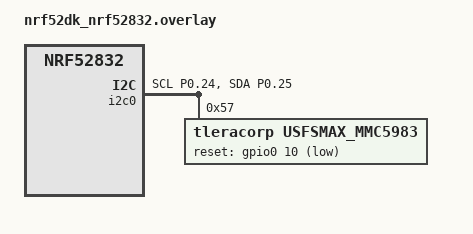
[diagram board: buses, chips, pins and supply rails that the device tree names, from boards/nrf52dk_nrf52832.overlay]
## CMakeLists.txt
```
#
# Copyright (c) 2016 Intel Corporation
#
# SPDX-License-Identifier: Apache-2.0
#

cmake_minimum_required(VERSION 3.20.0)
find_package(Zephyr REQUIRED HINTS $ENV{ZEPHYR_BASE})
project(nrf_connect_sdk_fundamentals)


add_subdirectory(src)

# The app source must be in this cmake file even though it breaks our general cmake usage pattern since zephyr stuff behind the scenes requires it.
target_sources(app PRIVATE src/main.c)
```

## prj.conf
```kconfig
# Logger module
CONFIG_LOG=y
CONFIG_LOG_MODE_DEFERRED=n
CONFIG_LOG_DEFAULT_LEVEL=3
CONFIG_LOG_TIMESTAMP_64BIT=y
CONFIG_LOG_BUFFER_SIZE=4096
# override the logging level for specific modules:
CONFIG_MPU_LOG_LEVEL_WRN=y
CONFIG_KERNEL_LOG_LEVEL_WRN=y
CONFIG_BT_HCI_CORE_LOG_LEVEL_WRN=y
CONFIG_BT_CTLR_ISOAL_LOG_LEVEL_WRN=y

# # Better asserts
# CONFIG_ASSERT=y
# CONFIG_ASSERT_VERBOSE=y

# # Stack debugging
# CONFIG_INIT_STACKS=y
# CONFIG_THREAD_STACK_INFO=y
# CONFIG_THREAD_NAME=y

# Bluetooth LE
CONFIG_BT=y
CONFIG_BT_PERIPHERAL=y
CONFIG_BT_DEVICE_NAME="Silas ROM"

# Peripherals for IMU
CONFIG_I2C=y

# Increase stack size for the main thread and System Workqueue
CONFIG_SYSTEM_WORKQUEUE_STACK_SIZE=2048
CONFIG_MAIN_STACK_SIZE=2048
CONFIG_BT_RX_STACK_SIZE=2048
```

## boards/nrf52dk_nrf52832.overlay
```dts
&i2c0 {
    status = "okay";
    pinctrl-0 = <&i2c0_default>;
    pinctrl-1 = <&i2c0_sleep>;
    pinctrl-names = "default", "sleep";

    usfsmax_mmc5983: usfsmax_mmc5983@57 {
        compatible = "tleracorp,usfsmax_mmc5983";
        status = "okay";
        reg = <0x57>;
        reset-gpios = <&gpio0 10 GPIO_ACTIVE_LOW>;
    };
};


&pinctrl {
    /omit-if-no-ref/ i2c0_default: i2c0_default {
        group1 {
            psels = <NRF_PSEL(TWIM_SCL, 0, 24)>,
                    <NRF_PSEL(TWIM_SDA, 0, 25)>;
        };
    };
    /omit-if-no-ref/ i2c0_sleep: i2c0_sleep {
        group1 {
            psels = <NRF_PSEL(TWIM_SCL, 0, 24)>,
                    <NRF_PSEL(TWIM_SDA, 0, 25)>;
            low-power-enable;
        };
    };
};
```

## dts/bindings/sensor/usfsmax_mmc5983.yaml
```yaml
# SPDX-License-Identifier: Apache-2.0
---
compatible: "tleracorp,usfsmax_mmc5983"

description: >
  9 Dof IMU sensor, turn-key solution via coprocessor

include: [base.yaml, i2c-device.yaml]

properties:
  reset-gpios:
    type: phandle-array
    required: true
    description: Reset line for the sensor. Active-low.
```

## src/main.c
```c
#include <zephyr/kernel.h>
#include <zephyr/device.h>
#include <zephyr/logging/log.h>
#include <zephyr/devicetree.h>
#include <zephyr/drivers/i2c.h>
#include <zephyr/drivers/gpio.h>

#include "ble_controller.h"

#define USFSMAX_MMC5983_NODE DT_NODELABEL(usfsmax_mmc5983)

#define SLEEP_TIME_MS 1000
#define RESET_INTERVAL_MS 10000  // reset every 10 seconds
#define RESET_PULSE_MS 10        // hold reset low for 10 ms

LOG_MODULE_REGISTER(main);

const uint8_t kUSFSMAXMMCFirmwareID = 0x7F;

uint8_t last_read_fw_id = 0;
bool is_last_read_fw_id_valid = false;

bool ble_fw_version_read_cb(uint8_t* value)
{
	if(is_last_read_fw_id_valid)
	{
		*value = last_read_fw_id;
		return true;
	}

	return false;
}

int main(void)
{
	LOG_INF("initialization starting");

	static const struct i2c_dt_spec dev_i2c = I2C_DT_SPEC_GET(USFSMAX_MMC5983_NODE);
	static const struct gpio_dt_spec reset_gpio = GPIO_DT_SPEC_GET(USFSMAX_MMC5983_NODE, reset_gpios);

	if (!device_is_ready(dev_i2c.bus)) {
		LOG_ERR("I2C bus %s is not ready", dev_i2c.bus->name);
		return -1;
	}

	if (!device_is_ready(reset_gpio.port)) {
		LOG_ERR("Reset GPIO device not ready");
		return -1;
	}

	int ret = gpio_pin_configure_dt(&reset_gpio, GPIO_OUTPUT_INACTIVE);
	if (ret < 0) {
		LOG_ERR("Failed to configure reset GPIO (err %d)", ret);
		return -1;
	}

	uint8_t fw_id = 0;
	int64_t last_reset_time = k_uptime_get();

	ble_controller_t ble_controller;
	ble_controller.fw_version_read_cb = ble_fw_version_read_cb;
	ble_controller_singleton_init(&ble_controller);

	LOG_INF("initialization complete");
	LOG_INF("entering main loop");

	while (1) {
		LOG_DBG("main loop heartbeat");

		/* Check if it's time to reset */
		int64_t now = k_uptime_get();
		if (now - last_reset_time >= RESET_INTERVAL_MS) {
			LOG_INF("preparing to reset device");

			gpio_pin_set_dt(&reset_gpio, 1);  // 1 means active. (active_low vs active_high taken care of in DT)
			k_msleep(RESET_PULSE_MS);
			gpio_pin_set_dt(&reset_gpio, 0);
			k_msleep(RESET_PULSE_MS);
			gpio_pin_set_dt(&reset_gpio, 1);

			last_reset_time = now;
			LOG_INF("device reset complete");
		}

		/* Regular I2C read */
		ret = i2c_write_read_dt(&dev_i2c, &kUSFSMAXMMCFirmwareID, 1, &fw_id, 1);
		if (ret != 0) {
			LOG_ERR("failed to read register %#x (err %d)", kUSFSMAXMMCFirmwareID, ret);
		} else {
			LOG_INF("firmware ID is %#x", fw_id);
		}

		k_msleep(SLEEP_TIME_MS);
	}
}
```
